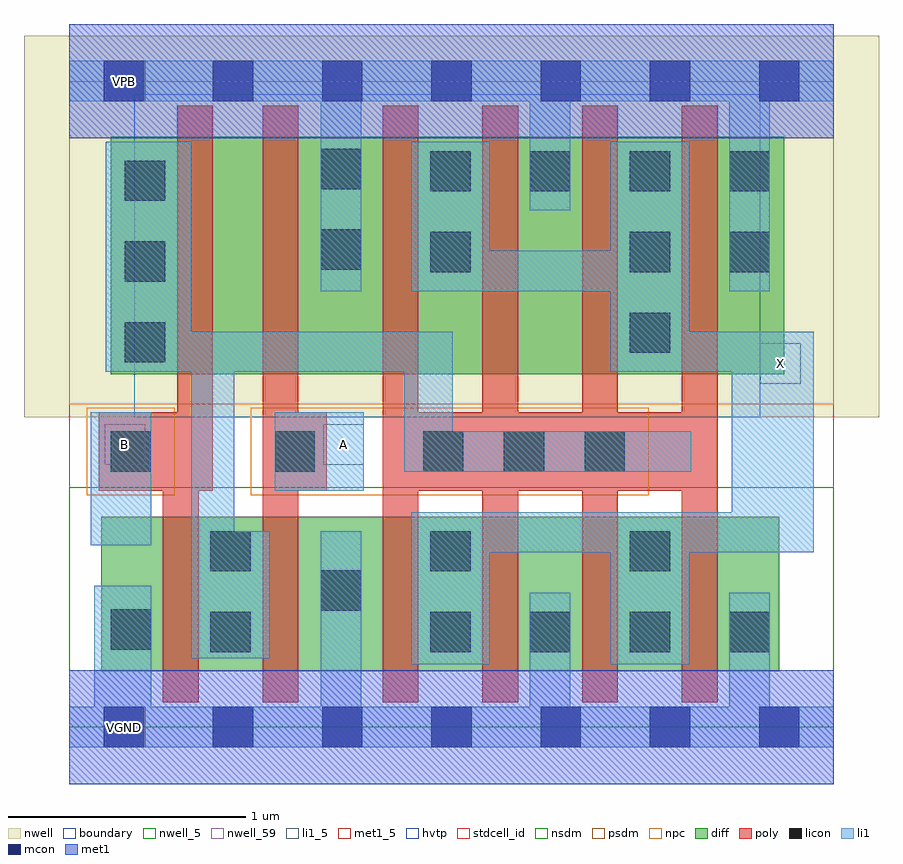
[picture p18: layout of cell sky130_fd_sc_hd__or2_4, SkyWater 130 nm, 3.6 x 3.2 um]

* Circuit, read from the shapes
.subckt sky130_fd_sc_hd__or2_4 A B VGND VNB VPB VPWR X
XM1 n1 B VGND VNB sky130_fd_pr__nfet_01v8 w=0.65 l=0.15
XM2 VGND A n1 VNB sky130_fd_pr__nfet_01v8 w=0.65 l=0.15
XM3 X n1 VGND VNB sky130_fd_pr__nfet_01v8 w=0.65 l=0.15 m=4
XM4 n2 B n1 VPB sky130_fd_pr__pfet_01v8_hvt w=1 l=0.15
XM5 VPWR A n2 VPB sky130_fd_pr__pfet_01v8_hvt w=1 l=0.15
XM6 X n1 VPWR VPB sky130_fd_pr__pfet_01v8_hvt w=1 l=0.15 m=4
.ends

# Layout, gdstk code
import gdstk
lib = gdstk.Library(unit=1e-6, precision=1e-09)
def R(c, l, rs):  # rectangles x0, y0, x1, y1
    for r in rs: c.add(gdstk.rectangle(r[:2], r[2:], *l))
def A(c, l, x, y, w, h, nx, ny, dx, dy):  # array of equal rectangles
    R(c, l, [(x+i*dx, y+j*dy, x+i*dx+w, y+j*dy+h) for i in range(nx) for j in range(ny)])
nwell_5 = (64, 5)
nwell = (64, 20)
nwell_59 = (64, 59)
diff = (65, 20)
poly = (66, 20)
licon = (66, 44)
li1_5 = (67, 5)
li1 = (67, 20)
mcon = (67, 44)
met1_5 = (68, 5)
met1 = (68, 20)
hvtp = (78, 44)
stdcell_id = (81, 4)
nsdm = (93, 44)
psdm = (94, 20)
npc = (95, 20)
boundary = (235, 4)

sky130_fd_sc_hd__or2_4 = lib.new_cell('sky130_fd_sc_hd__or2_4')
R(sky130_fd_sc_hd__or2_4, nwell_5, [(0.15,2.635,0.32,2.805)])
R(sky130_fd_sc_hd__or2_4, nwell, [(-0.19,1.305,3.41,2.91)])
R(sky130_fd_sc_hd__or2_4, nwell_59, [(0.15,-0.085,0.32,0.085)])
R(sky130_fd_sc_hd__or2_4, diff, [(0.135,0.235,2.99,0.885), (0.175,1.485,3.01,2.485)])
A(sky130_fd_sc_hd__or2_4, poly, 1.32, 0.105, 0.15, 0.89, 4, 1, 0.42, 0)
A(sky130_fd_sc_hd__or2_4, poly, 1.32, 1.325, 0.15, 1.29, 4, 1, 0.42, 0)
R(sky130_fd_sc_hd__or2_4, poly, [(0.395,0.105,0.545,0.995), (0.815,0.105,0.965,0.995), (0.125,0.995,0.605,1.325), (0.815,0.995,1.085,1.325), (1.32,0.995,2.73,1.325), (0.455,1.325,0.605,2.615), (0.815,1.325,0.965,2.615)])
A(sky130_fd_sc_hd__or2_4, licon, 1.52, 0.315, 0.17, 0.17, 4, 2, 0.42, 1.94)
A(sky130_fd_sc_hd__or2_4, licon, 1.49, 1.075, 0.17, 0.17, 3, 1, 0.34, 0)
A(sky130_fd_sc_hd__or2_4, licon, 0.235, 1.535, 0.17, 0.17, 1, 3, 0, 0.34)
R(sky130_fd_sc_hd__or2_4, licon, [(0.595,0.315,0.765,0.485), (0.175,0.325,0.345,0.495), (1.06,0.49,1.23,0.66), (0.595,0.655,0.765,0.825), (1.52,0.655,1.69,0.825), (2.36,0.655,2.53,0.825), (0.175,1.075,0.345,1.245), (0.865,1.075,1.035,1.245), (2.36,1.575,2.53,1.745), (1.52,1.915,1.69,2.085), (2.36,1.915,2.53,2.085), (2.78,1.915,2.95,2.085), (1.06,1.925,1.23,2.095), (1.06,2.265,1.23,2.435)])
R(sky130_fd_sc_hd__or2_4, li1_5, [(0.15,1.105,0.32,1.275), (1.07,1.105,1.24,1.275), (2.91,1.445,3.08,1.615)])
R(sky130_fd_sc_hd__or2_4, li1, [(0,-0.085,3.22,0.085), (0.105,0.085,0.345,0.595), (1.06,0.085,1.23,0.825), (1.94,0.085,2.11,0.565), (2.78,0.085,2.95,0.565), (1.44,0.265,1.77,0.735), (2.28,0.265,2.61,0.735), (0.515,0.29,0.845,0.825), (1.44,0.735,3.135,0.905), (0.09,0.765,0.345,1.325), (0.515,0.825,0.695,1.495), (2.79,0.905,3.135,1.495), (0.865,0.995,1.24,1.325), (1.41,1.075,2.62,1.245), (1.41,1.245,1.615,1.495), (0.155,1.495,1.615,1.665), (2.28,1.495,3.135,1.665), (0.155,1.665,0.515,2.465), (2.28,1.665,2.61,1.835), (1.06,1.835,1.23,2.635), (1.44,1.835,2.61,2.005), (2.78,1.835,2.95,2.635), (1.44,2.005,1.77,2.465), (2.28,2.005,2.61,2.465), (1.94,2.175,2.11,2.635), (0,2.635,3.22,2.805)])
A(sky130_fd_sc_hd__or2_4, mcon, 0.145, -0.085, 0.17, 0.17, 7, 2, 0.46, 2.72)
R(sky130_fd_sc_hd__or2_4, met1_5, [(0.15,-0.085,0.32,0.085), (0.15,2.635,0.32,2.805)])
R(sky130_fd_sc_hd__or2_4, met1, [(0,-0.24,3.22,0.24), (0,2.48,3.22,2.96)])
R(sky130_fd_sc_hd__or2_4, hvtp, [(0.275,1.305,2.91,2.665)])
R(sky130_fd_sc_hd__or2_4, stdcell_id, [(0,0,3.22,2.72)])
R(sky130_fd_sc_hd__or2_4, nsdm, [(0,0,3.22,1.01)])
R(sky130_fd_sc_hd__or2_4, psdm, [(0,1.36,3.22,2.72)])
R(sky130_fd_sc_hd__or2_4, npc, [(0.075,0.975,0.445,1.345), (0.765,0.975,2.44,1.345)])
R(sky130_fd_sc_hd__or2_4, boundary, [(0,0,3.22,2.72)])
sky130_fd_sc_hd__or2_4.add(gdstk.Label('A', (1.155,1.19), layer=67, texttype=5))
sky130_fd_sc_hd__or2_4.add(gdstk.Label('B', (0.235,1.19), layer=67, texttype=5))
sky130_fd_sc_hd__or2_4.add(gdstk.Label('VGND', (0.235,0), layer=68, texttype=5))
sky130_fd_sc_hd__or2_4.add(gdstk.Label('VNB', (0.235,0), layer=64, texttype=59))
sky130_fd_sc_hd__or2_4.add(gdstk.Label('VPB', (0.235,2.72), layer=64, texttype=5))
sky130_fd_sc_hd__or2_4.add(gdstk.Label('VPWR', (0.235,2.72), layer=68, texttype=5))
sky130_fd_sc_hd__or2_4.add(gdstk.Label('X', (2.995,1.53), layer=67, texttype=5))

lib.write_gds('sky130_fd_sc_hd__or2_4.gds')
